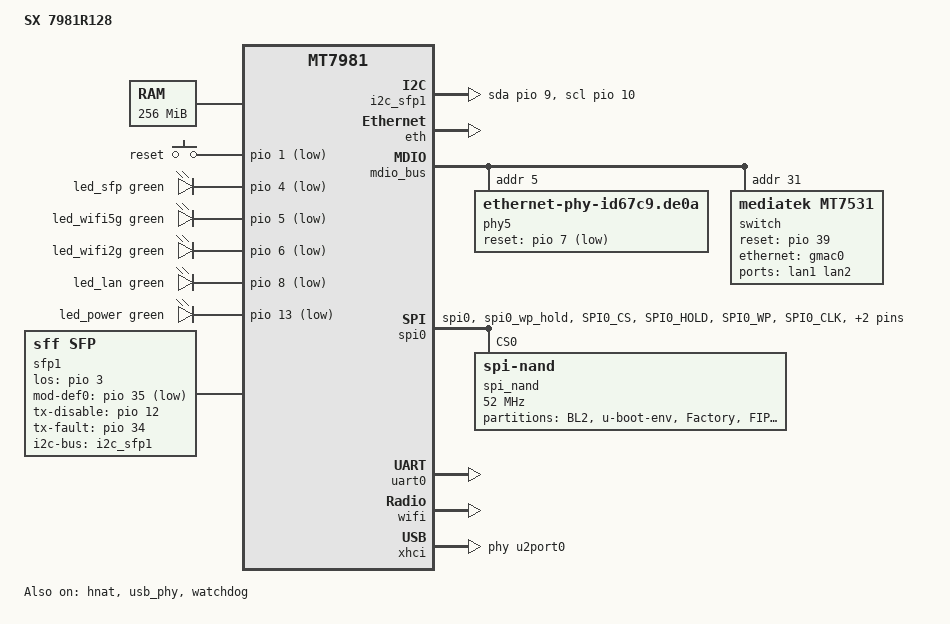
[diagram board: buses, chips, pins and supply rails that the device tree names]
// SPDX-License-Identifier: GPL-2.0-only OR MIT

/dts-v1/;
#include <dt-bindings/gpio/gpio.h>
#include <dt-bindings/input/input.h>
#include <dt-bindings/leds/common.h>
#include <dt-bindings/phy/phy.h>
#include <dt-bindings/pinctrl/mt65xx.h>

#include "mt7981b.dtsi"

/ {
	model = "SX 7981R128";
	compatible = "sx,7981r128", "mediatek,mt7981";

	aliases {
		label-mac-device = &gmac1;
		led-boot = &led_power;
		led-failsafe = &led_power;
		led-running = &led_power;
		led-upgrade = &led_power;
		serial0 = &uart0;
	};

	chosen {
		bootargs-append = " root=/dev/fit0 rootwait";
		rootdisk = <&ubi_rootdisk>;
		stdout-path = "serial0:115200n8";
	};

	memory@40000000 {
		device_type = "memory";
		reg = <0 0x40000000 0 0x10000000>;
	};

	gpio-keys {
		compatible = "gpio-keys";

		reset {
			label = "reset";
			linux,code = <KEY_RESTART>;
			gpios = <&pio 1 GPIO_ACTIVE_LOW>;
		};
	};

	i2c_sfp1: i2c-gpio-0 {
		compatible = "i2c-gpio";
		sda-gpios = <&pio 9 (GPIO_ACTIVE_HIGH | GPIO_OPEN_DRAIN)>;
		scl-gpios = <&pio 10 (GPIO_ACTIVE_HIGH | GPIO_OPEN_DRAIN)>;
		i2c-gpio,delay-us = <2>;
		#address-cells = <1>;
		#size-cells = <0>;
	};

	leds {
		compatible = "gpio-leds";

		led_sfp: led-0 {
			color = <LED_COLOR_ID_GREEN>;
			function = "sfp";
			gpios = <&pio 4 GPIO_ACTIVE_LOW>;
		};

		led_wifi5g: led-1 {
			color = <LED_COLOR_ID_GREEN>;
			function = LED_FUNCTION_WLAN_5GHZ;
			gpios = <&pio 5 GPIO_ACTIVE_LOW>;
		};

		led_wifi2g: led-2 {
			color = <LED_COLOR_ID_GREEN>;
			function = LED_FUNCTION_WLAN_2GHZ;
			gpios = <&pio 6 GPIO_ACTIVE_LOW>;
		};

		led_lan: led-3 {
			color = <LED_COLOR_ID_GREEN>;
			function = LED_FUNCTION_LAN;
			gpios = <&pio 8 GPIO_ACTIVE_LOW>;
		};

		led_power: led-4 {
			color = <LED_COLOR_ID_GREEN>;
			function = LED_FUNCTION_POWER;
			gpios = <&pio 13 GPIO_ACTIVE_LOW>;
			default-state = "on";
		};
	};

	sfp1: sfp-wan {
		compatible = "sff,sfp";
		i2c-bus = <&i2c_sfp1>;
		los-gpios = <&pio 3 GPIO_ACTIVE_HIGH>;
		mod-def0-gpios = <&pio 35 GPIO_ACTIVE_LOW>;
		tx-disable-gpios = <&pio 12 GPIO_ACTIVE_HIGH>;
		tx-fault-gpios = <&pio 34 GPIO_ACTIVE_HIGH>;
		maximum-power-milliwatt = <3000>;
	};
};

&eth {
	status = "okay";

	gmac0: mac@0 {
		compatible = "mediatek,eth-mac";
		reg = <0>;
		phy-mode = "2500base-x";

		fixed-link {
			speed = <2500>;
			full-duplex;
			pause;
		};
	};

	gmac1: mac@1 {
		compatible = "mediatek,eth-mac";
		reg = <1>;
		phy-mode = "2500base-x";
		managed = "in-band-status";
		sfp = <&sfp1>;
	};
};

&hnat {
	mtketh-wan = "eth1";
	mtketh-lan = "lan";
	mtketh-max-gmac = <2>;
	status = "okay";
};

&mdio_bus {
	phy5: phy@5 {
		compatible = "ethernet-phy-id67c9.de0a";
		reg = <5>;
		reset-assert-us = <600>;
		reset-deassert-us = <20000>;
		reset-gpios = <&pio 7 GPIO_ACTIVE_LOW>;
	};

	switch: switch@1f {
		compatible = "mediatek,mt7531";
		reg = <0x1f>;
		reset-gpios = <&pio 39 GPIO_ACTIVE_HIGH>;
	};
};

&pio {
	pcm_pins: pcm-pins-g0 {
		mux {
			function = "pcm";
			groups = "pcm";
		};
	};

	spi0_flash_pins: spi0-pins {
		mux {
			function = "spi";
			groups = "spi0", "spi0_wp_hold";
		};

		conf-pu {
			pins = "SPI0_CS", "SPI0_HOLD", "SPI0_WP";
			drive-strength = <MTK_DRIVE_8mA>;
			bias-pull-up = <MTK_PUPD_SET_R1R0_11>;
		};

		conf-pd {
			pins = "SPI0_CLK", "SPI0_MOSI", "SPI0_MISO";
			drive-strength = <MTK_DRIVE_8mA>;
			bias-pull-down = <MTK_PUPD_SET_R1R0_11>;
		};
	};
};

&spi0 {
	pinctrl-names = "default";
	pinctrl-0 = <&spi0_flash_pins>;
	status = "okay";

	spi_nand: flash@0 {
		compatible = "spi-nand";
		reg = <0>;

		spi-max-frequency = <52000000>;
		spi-tx-bus-width = <4>;
		spi-rx-bus-width = <4>;

		spi-cal-enable;
		spi-cal-mode = "read-data";
		spi-cal-datalen = <7>;
		spi-cal-data = /bits/ 8 <0x53 0x50 0x49 0x4e 0x41 0x4e 0x44>;
		spi-cal-addrlen = <5>;
		spi-cal-addr = /bits/ 32 <0x0 0x0 0x0 0x0 0x0>;

		mediatek,nmbm;
		mediatek,bmt-max-ratio = <1>;
		mediatek,bmt-max-reserved-blocks = <64>;

		partitions {
			compatible = "fixed-partitions";
			#address-cells = <1>;
			#size-cells = <1>;

			partition@0 {
				label = "BL2";
				reg = <0x0 0x100000>;
				read-only;
			};

			partition@100000 {
				label = "u-boot-env";
				reg = <0x100000 0x80000>;
			};

			factory: partition@180000 {
				label = "Factory";
				reg = <0x180000 0x200000>;
				read-only;
			};

			partition@380000 {
				label = "FIP";
				reg = <0x380000 0x200000>;
				read-only;
			};

			ubi: partition@580000 {
				label = "ubi";
				reg = <0x580000 0x4000000>;
				compatible = "linux,ubi";

				volumes {
					ubi_rootdisk: ubi-volume-fit {
						volname = "fit";
					};
				};
			};
		};
	};
};

&switch {
	ports {
		#address-cells = <1>;
		#size-cells = <0>;

		port@1 {
			reg = <1>;
			label = "lan1";
		};

		port@5 {
			reg = <5>;
			label = "lan2";
			phy-mode = "2500base-x";
			phy-handle = <&phy5>;
		};

		port@6 {
			reg = <6>;
			ethernet = <&gmac0>;
			phy-mode = "2500base-x";

			fixed-link {
				speed = <2500>;
				full-duplex;
				pause;
			};
		};
	};
};

&uart0 {
	status = "okay";
};

&usb_phy {
	status = "okay";
};

&watchdog {
	status = "okay";
};

&wifi {
	status = "okay";

	mediatek,mtd-eeprom = <&factory 0x0>;
};

&xhci {
	mediatek,u3p-dis-msk = <0x0>;
	phys = <&u2port0 PHY_TYPE_USB2>,
	       <&u3port0 PHY_TYPE_USB3>;
	status = "okay";
};
